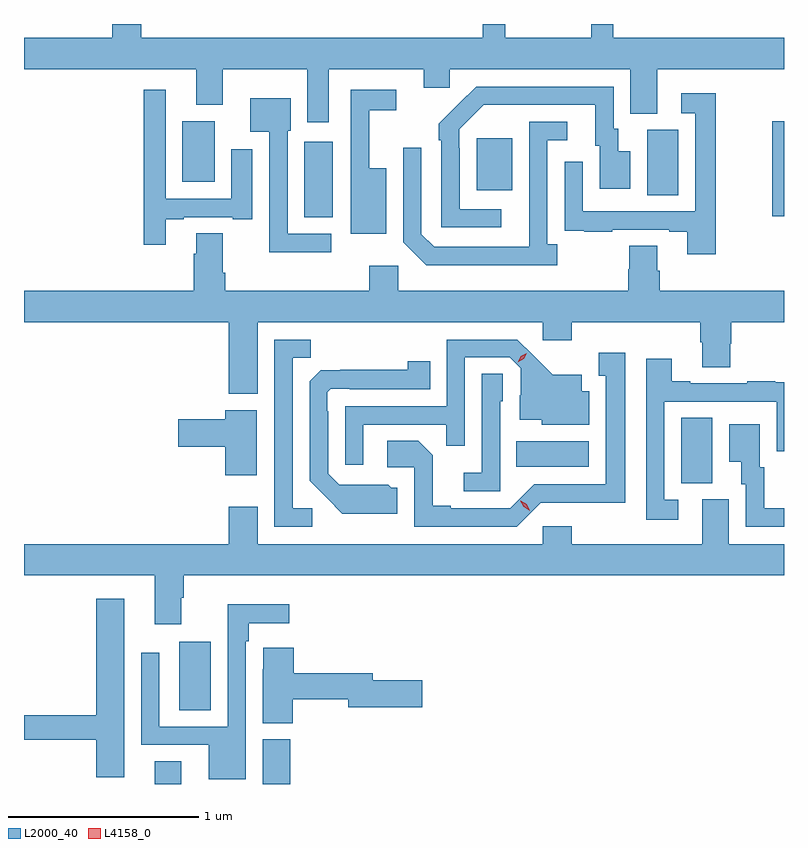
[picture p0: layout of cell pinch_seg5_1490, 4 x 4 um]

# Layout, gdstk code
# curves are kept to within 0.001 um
import gdstk
lib = gdstk.Library(unit=1e-6, precision=1e-09)
def R(c, l, rs):  # rectangles x0, y0, x1, y1
    for r in rs: c.add(gdstk.rectangle(r[:2], r[2:], *l))
def P(c, l, *ps):  # polygons
    for p in ps: c.add(gdstk.Polygon(p, *l))
L2000_40 = (2000, 40)
L4158_0 = (4158, 0)

pinch_seg5_1490 = lib.new_cell('pinch_seg5_1490')
R(pinch_seg5_1490, L2000_40, [(298.634,852.997,298.774,853.118), (299.204,852.997,299.348,853.233), (298.763,853.384,298.93,853.747), (301.406,854.581,301.57,854.924), (300.538,854.666,300.919,854.8), (299.423,855.979,299.572,856.378), (301.885,855.986,301.947,856.485), (301.226,856.096,301.39,856.44), (300.329,856.121,300.517,856.396), (298.781,856.166,298.951,856.486)])
P(pinch_seg5_1490, L2000_40, [(299.551,856.76),(300.05,856.76),(300.05,856.662),(300.189,856.662),(300.189,856.76),(301.139,856.76),(301.139,856.525),(301.279,856.525),(301.279,856.76),(301.947,856.76),(301.947,856.924),(301.049,856.924),(301.049,856.997),(300.932,856.997),(300.932,856.924),(300.479,856.924),(300.479,856.997),(300.361,856.997),(300.361,856.924),(298.565,856.924),(298.565,856.997),(298.412,856.997),(298.412,856.924),(297.947,856.924),(297.947,856.76),(298.853,856.76),(298.853,856.571),(298.993,856.571),(298.993,856.76),(299.438,856.76),(299.438,856.479),(299.551,856.479)],
  [(300.46,856.023),(300.24,856.023),(300.24,856.343),(300.237,856.343),(300.237,856.443),(300.366,856.572),(300.953,856.572),(300.953,856.356),(300.977,856.356),(300.977,856.131),(301.138,856.131),(301.138,856.327),(301.075,856.327),(301.075,856.446),(301.05,856.446),(301.05,856.668),(300.326,856.668),(300.129,856.473),(300.129,856.385),(300.144,856.385),(300.144,855.927),(300.46,855.927)],
  [(298.693,855.969),(298.789,855.969),(298.789,855.981),(299.045,855.981),(299.045,855.969),(299.149,855.969),(299.149,856.339),(299.039,856.339),(299.039,856.077),(298.692,856.077),(298.692,856.651),(298.576,856.651),(298.576,855.834),(298.693,855.834)],
  [(299.854,856.237),(299.765,856.237),(299.765,856.542),(299.905,856.542),(299.905,856.65),(299.667,856.65),(299.667,856.133),(299.666,856.133),(299.666,855.893),(299.854,855.893)],
  [(301.588,856.633),(301.407,856.633),(301.407,856.527),(301.479,856.527),(301.479,856.011),(300.888,856.011),(300.888,856.273),(300.792,856.273),(300.792,856.018),(300.793,856.018),(300.793,855.909),(300.895,855.909),(300.895,855.903),(301.043,855.903),(301.043,855.915),(301.343,855.915),(301.343,855.903),(301.439,855.903),(301.439,855.786),(301.588,855.786)],
  [(299.563,855.894),(299.334,855.894),(299.334,856.434),(299.35,856.434),(299.35,856.606),(299.138,856.606),(299.138,856.43),(299.238,856.43),(299.238,855.797),(299.563,855.797)],
  [(300.754,855.838),(300.702,855.838),(300.702,856.386),(300.805,856.386),(300.805,856.482),(300.606,856.482),(300.605,855.825),(300.105,855.825),(300.039,855.891),(300.039,856.345),(299.943,856.345),(299.943,855.849),(300.064,855.728),(300.754,855.728)],
  [(299.176,855.428),(300.678,855.428),(300.678,855.333),(300.83,855.333),(300.83,855.428),(301.505,855.428),(301.505,855.322),(301.517,855.322),(301.517,855.19),(301.665,855.19),(301.665,855.315),(301.67,855.315),(301.67,855.428),(301.947,855.428),(301.947,855.592),(301.292,855.592),(301.292,855.698),(301.279,855.698),(301.279,855.83),(301.132,855.83),(301.132,855.705),(301.127,855.705),(301.127,855.592),(299.916,855.592),(299.916,855.724),(299.765,855.724),(299.765,855.592),(299.006,855.592),(299.006,855.688),(298.993,855.688),(298.993,855.896),(298.853,855.896),(298.853,855.788),(298.841,855.788),(298.841,855.592),(297.947,855.592),(297.947,855.428),(299.024,855.428),(299.024,855.05),(299.176,855.05)],
  [(299.733,854.889),(300.169,854.889),(300.169,854.776),(300.267,854.776),(300.267,855.243),(300.504,855.243),(300.561,855.186),(300.561,855.044),(300.557,855.044),(300.557,854.915),(300.672,854.915),(300.672,854.888),(300.922,854.888),(300.922,855.064),(300.883,855.064),(300.883,855.151),(300.731,855.151),(300.544,855.336),(300.171,855.336),(300.171,854.985),(299.637,854.985),(299.637,854.676),(299.733,854.676)],
  [(299.464,854.448),(299.361,854.448),(299.361,855.241),(299.457,855.241),(299.457,855.336),(299.265,855.336),(299.265,854.352),(299.464,854.352)],
  [(300.666,854.478),(301.111,854.477),(301.111,855.268),(300.971,855.268),(300.971,855.147),(301.01,855.147),(301.01,854.574),(300.633,854.574),(300.507,854.448),(300.193,854.448),(300.193,854.461),(300.099,854.461),(300.099,854.728),(300.023,854.804),(299.859,854.804),(299.859,854.664),(300,854.664),(300,854.352),(300.54,854.352)],
  [(301.39,854.493),(301.317,854.493),(301.317,855.009),(301.908,855.009),(301.908,854.748),(301.947,854.748),(301.947,855.111),(301.901,855.111),(301.901,855.118),(301.753,855.118),(301.753,855.105),(301.453,855.105),(301.453,855.118),(301.357,855.118),(301.357,855.235),(301.221,855.235),(301.221,854.388),(301.39,854.388)],
  [(299.911,854.556),(299.88,854.556),(299.864,854.572),(299.607,854.571),(299.547,854.631),(299.547,854.96),(299.544,854.96),(299.544,855.06),(299.562,855.078),(299.662,855.078),(299.662,855.075),(300.086,855.075),(300.086,855.223),(299.968,855.223),(299.968,855.176),(299.51,855.175),(299.451,855.116),(299.451,854.594),(299.623,854.42),(299.911,854.42)],
  [(300.453,855.012),(300.468,855.012),(300.468,855.155),(300.357,855.155),(300.357,854.635),(300.261,854.635),(300.261,854.538),(300.453,854.538)],
  [(299.173,854.965),(299.006,854.965),(299.006,854.918),(298.758,854.918),(298.758,854.771),(299.006,854.771),(299.006,854.622),(299.173,854.622)],
  [(301.947,854.448),(301.843,854.448),(301.843,854.664),(301.819,854.664),(301.819,854.89),(301.658,854.89),(301.658,854.693),(301.721,854.693),(301.721,854.574),(301.746,854.574),(301.746,854.352),(301.947,854.352)],
  [(298.774,853.976),(298.787,853.976),(298.787,854.096),(301.947,854.096),(301.947,854.26),(301.657,854.26),(301.657,854.496),(301.517,854.496),(301.517,854.26),(300.83,854.26),(300.83,854.353),(300.678,854.353),(300.678,854.26),(299.176,854.26),(299.176,854.455),(299.024,854.455),(299.024,854.26),(297.947,854.26),(297.947,854.096),(298.634,854.096),(298.634,853.839),(298.774,853.839)],
  [(298.474,853.972),(298.328,853.972),(298.328,853.358),(297.947,853.358),(297.947,853.23),(298.328,853.23),(298.328,853.032),(298.474,853.032)],
  [(299.115,853.748),(299.131,853.748),(299.131,853.844),(299.344,853.844),(299.344,853.942),(299.019,853.942),(299.019,853.299),(298.659,853.299),(298.659,853.687),(298.563,853.687),(298.563,853.203),(298.919,853.203),(298.919,853.022),(299.115,853.022)],
  [(299.361,853.444),(299.654,853.444),(299.654,853.402),(300.043,853.402),(300.043,853.544),(299.782,853.544),(299.782,853.58),(299.366,853.58),(299.366,853.714),(299.205,853.714),(299.205,853.601),(299.204,853.601),(299.204,853.318),(299.361,853.318)])
P(pinch_seg5_1490, L4158_0, [(300.609,854.436),(300.577,854.455),(300.56,854.488),(300.56,854.488),(300.561,854.488),(300.592,854.469),(300.609,854.436),(300.609,854.436)],
  [(300.545,855.218),(300.545,855.218),(300.562,855.248),(300.592,855.264),(300.593,855.264),(300.593,855.264),(300.576,855.234),(300.546,855.218)])

lib.write_gds('pinch_seg5_1490.gds')
